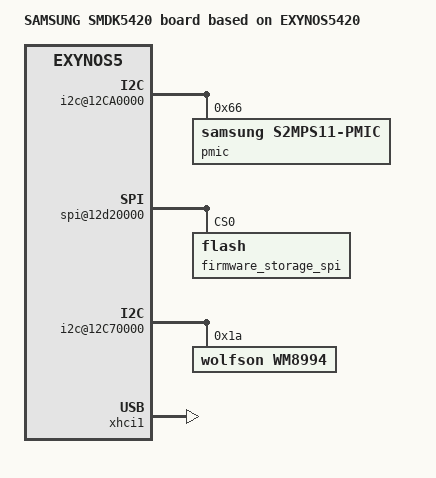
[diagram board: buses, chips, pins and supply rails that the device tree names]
// SPDX-License-Identifier: GPL-2.0+
/*
 * SAMSUNG SMDK5420 board device tree source
 *
 * Copyright (c) 2013 Samsung Electronics Co., Ltd.
 *		http://www.samsung.com
 */

/dts-v1/;
#include "exynos54xx.dtsi"

/ {
	model = "SAMSUNG SMDK5420 board based on EXYNOS5420";
	compatible = "samsung,smdk5420", "samsung,exynos5";

	config {
		hwid = "smdk5420 TEST A-A 9382";
	};

	aliases {
		serial0 = "/serial@12C30000";
		console = "/serial@12C30000";
	};

	tmu@10060000 {
		samsung,min-temp	= <25>;
		samsung,max-temp	= <125>;
		samsung,start-warning	= <95>;
		samsung,start-tripping	= <105>;
		samsung,hw-tripping	= <110>;
		samsung,efuse-min-value	= <40>;
		samsung,efuse-value	= <55>;
		samsung,efuse-max-value	= <100>;
		samsung,slope		= <274761730>;
		samsung,dc-value	= <25>;
	};

	/* s2mps11 is on i2c bus 4 */
	i2c@12CA0000 {
		#address-cells = <1>;
		#size-cells = <0>;
		pmic@66 {
			reg = <0x66>;
			compatible = "samsung,s2mps11-pmic";
		};
	};

	spi@12d20000 { /* spi0 */
		spi-max-frequency = <50000000>;
		firmware_storage_spi: flash@0 {
			reg = <0>;
		};
	};

	fimd@14400000 {
		samsung,vl-freq = <60>;
		samsung,vl-col = <2560>;
		samsung,vl-row = <1600>;
		samsung,vl-width = <2560>;
		samsung,vl-height = <1600>;

		samsung,vl-clkp;
		samsung,vl-dp;
		samsung,vl-bpix = <4>;

		samsung,vl-hspw = <32>;
		samsung,vl-hbpd = <80>;
		samsung,vl-hfpd = <48>;
		samsung,vl-vspw = <6>;
		samsung,vl-vbpd = <37>;
		samsung,vl-vfpd = <3>;
		samsung,vl-cmd-allow-len = <0xf>;

		samsung,winid = <3>;
		samsung,interface-mode = <1>;
		samsung,dp-enabled = <1>;
		samsung,dual-lcd-enabled = <0>;
	};

	sound@3830000 {
		samsung,codec-type = "wm8994";
	};

	i2c@12C70000 {
		wm8994: soundcodec@1a {
			reg = <0x1a>;
			u-boot,i2c-offset-len = <2>;
			compatible = "wolfson,wm8994";
			#sound-dai-cells = <1>;
		};
	};

	sound {
		compatible = "samsung,smdk5420-audio-wm8994";

		samsung,model = "Snow-I2S-MAX98095";
		samsung,audio-codec = <&wm8994>;

		cpu {
			sound-dai = <&i2s0 0>;
		};

		codec {
			sound-dai = <&wm8994 0>;
		};
	};

	mmc@12200000 {
		samsung,bus-width = <8>;
		samsung,timing = <1 3 3>;
		samsung,removable = <0>;
		samsung,pre-init;
	};

	mmc@12210000 {
		status = "disabled";
	};

	mmc@12220000 {
		samsung,bus-width = <4>;
		samsung,timing = <1 2 3>;
		samsung,removable = <1>;
	};

	mmc@12230000 {
		status = "disabled";
	};

	fimd@14400000 {
		/* sysmmu is not used in U-Boot */
		samsung,disable-sysmmu;
	};

	dp@145b0000 {
		samsung,lt-status = <0>;

		samsung,master-mode = <0>;
		samsung,bist-mode = <0>;
		samsung,bist-pattern = <0>;
		samsung,h-sync-polarity = <0>;
		samsung,v-sync-polarity = <0>;
		samsung,interlaced = <0>;
		samsung,color-space = <0>;
		samsung,dynamic-range = <0>;
		samsung,ycbcr-coeff = <0>;
		samsung,color-depth = <1>;
	};

	dmc {
		mem-type = "ddr3";
	};

	xhci1: xhci@12400000 {
		compatible = "samsung,exynos5250-xhci";
		reg = <0x12400000 0x10000>;
		#address-cells = <1>;
		#size-cells = <1>;

		phy {
			compatible = "samsung,exynos5250-usb3-phy";
			reg = <0x12500000 0x100>;
		};
	};
};
